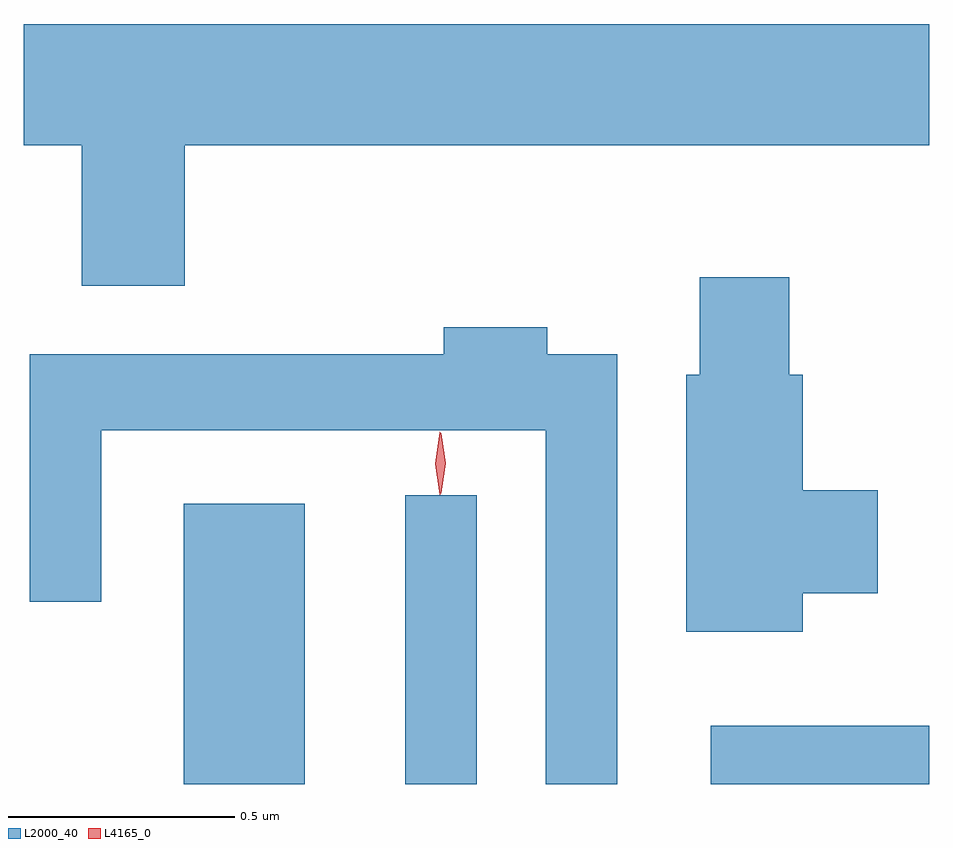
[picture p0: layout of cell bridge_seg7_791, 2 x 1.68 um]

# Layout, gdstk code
import gdstk
lib = gdstk.Library(unit=1e-6, precision=1e-09)
def R(c, l, rs):  # rectangles x0, y0, x1, y1
    for r in rs: c.add(gdstk.rectangle(r[:2], r[2:], *l))
def P(c, l, *ps):  # polygons
    for p in ps: c.add(gdstk.Polygon(p, *l))
L2000_40 = (2000, 40)
L4165_0 = (4165, 0)

bridge_seg7_791 = lib.new_cell('bridge_seg7_791')
R(bridge_seg7_791, L2000_40, [(499.796,1759.525,500.064,1760.144), (500.286,1759.525,500.444,1760.163), (500.961,1759.525,501.443,1759.654)])
P(bridge_seg7_791, L2000_40, [(499.799,1760.936),(501.443,1760.936),(501.443,1761.204),(499.443,1761.204),(499.443,1760.936),(499.571,1760.936),(499.571,1760.626),(499.799,1760.626)],
  [(501.164,1759.946),(501.329,1759.946),(501.329,1760.174),(501.164,1760.174),(501.164,1760.429),(501.134,1760.429),(501.134,1760.644),(500.936,1760.644),(500.936,1760.429),(500.906,1760.429),(500.906,1759.861),(501.164,1759.861)],
  [(500.754,1760.474),(500.599,1760.474),(500.599,1760.534),(500.371,1760.534),(500.371,1760.474),(499.456,1760.474),(499.456,1759.928),(499.614,1759.928),(499.614,1760.306),(500.596,1760.306),(500.596,1759.525),(500.754,1759.525)])
P(bridge_seg7_791, L4165_0, [(500.362,1760.164),(500.362,1760.164),(500.352,1760.233),(500.362,1760.302),(500.362,1760.303),(500.363,1760.302),(500.372,1760.233),(500.363,1760.164)],
  [(500.364,1760.167),(500.355,1760.234),(500.364,1760.3),(500.365,1760.3),(500.365,1760.3),(500.375,1760.234),(500.365,1760.167),(500.365,1760.167)])

lib.write_gds('bridge_seg7_791.gds')
